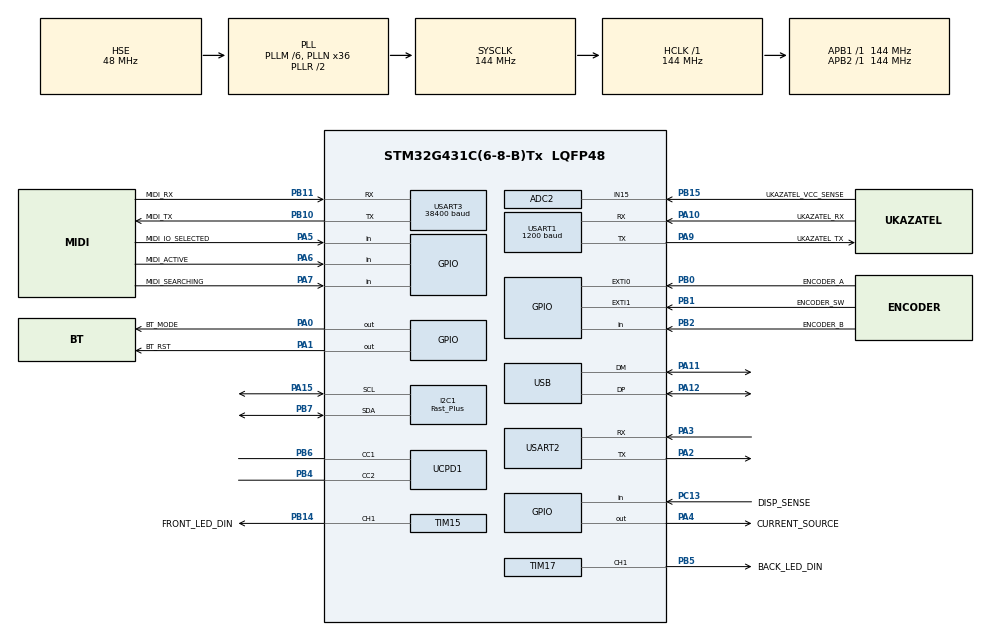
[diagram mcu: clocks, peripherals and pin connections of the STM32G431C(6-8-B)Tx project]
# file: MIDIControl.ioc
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ADC2.Channel-0\#ChannelRegularConversion=ADC_CHANNEL_15
ADC2.NbrOfConversionFlag=1
ADC2.OffsetNumber-0\#ChannelRegularConversion=ADC_OFFSET_NONE
ADC2.Rank-0\#ChannelRegularConversion=1
ADC2.SamplingTime-0\#ChannelRegularConversion=ADC_SAMPLETIME_2CYCLES_5
Dma.I2C1_TX.2.Direction=DMA_MEMORY_TO_PERIPH
Dma.I2C1_TX.2.EventEnable=DISABLE
Dma.I2C1_TX.2.Instance=DMA1_Channel1
Dma.I2C1_TX.2.MemDataAlignment=DMA_MDATAALIGN_BYTE
Dma.I2C1_TX.2.MemInc=DMA_MINC_ENABLE
Dma.I2C1_TX.2.Mode=DMA_NORMAL
Dma.I2C1_TX.2.PeriphDataAlignment=DMA_PDATAALIGN_BYTE
Dma.I2C1_TX.2.PeriphInc=DMA_PINC_DISABLE
Dma.I2C1_TX.2.Polarity=HAL_DMAMUX_REQ_GEN_RISING
Dma.I2C1_TX.2.Priority=DMA_PRIORITY_VERY_HIGH
Dma.I2C1_TX.2.RequestNumber=1
Dma.I2C1_TX.2.SignalID=NONE
Dma.I2C1_TX.2.SyncEnable=DISABLE
Dma.I2C1_TX.2.SyncPolarity=HAL_DMAMUX_SYNC_NO_EVENT
Dma.I2C1_TX.2.SyncRequestNumber=1
Dma.I2C1_TX.2.SyncSignalID=NONE
Dma.Request0=TIM17_CH1
Dma.Request1=TIM15_CH1
Dma.Request2=I2C1_TX
Dma.Request3=USART1_RX
Dma.TIM15_CH1.1.Direction=DMA_MEMORY_TO_PERIPH
Dma.TIM15_CH1.1.EventEnable=DISABLE
Dma.TIM15_CH1.1.Instance=DMA1_Channel2
Dma.TIM15_CH1.1.MemDataAlignment=DMA_MDATAALIGN_BYTE
Dma.TIM15_CH1.1.MemInc=DMA_MINC_ENABLE
Dma.TIM15_CH1.1.Mode=DMA_CIRCULAR
Dma.TIM15_CH1.1.PeriphDataAlignment=DMA_PDATAALIGN_WORD
Dma.TIM15_CH1.1.PeriphInc=DMA_PINC_DISABLE
Dma.TIM15_CH1.1.Polarity=HAL_DMAMUX_REQ_GEN_RISING
Dma.TIM15_CH1.1.Priority=DMA_PRIORITY_HIGH
Dma.TIM15_CH1.1.RequestNumber=1
Dma.TIM15_CH1.1.SignalID=NONE
Dma.TIM15_CH1.1.SyncEnable=DISABLE
Dma.TIM15_CH1.1.SyncPolarity=HAL_DMAMUX_SYNC_NO_EVENT
Dma.TIM15_CH1.1.SyncRequestNumber=1
Dma.TIM15_CH1.1.SyncSignalID=NONE
Dma.TIM17_CH1.0.Direction=DMA_MEMORY_TO_PERIPH
Dma.TIM17_CH1.0.EventEnable=DISABLE
Dma.TIM17_CH1.0.Instance=DMA1_Channel3
Dma.TIM17_CH1.0.MemDataAlignment=DMA_MDATAALIGN_BYTE
Dma.TIM17_CH1.0.MemInc=DMA_MINC_ENABLE
Dma.TIM17_CH1.0.Mode=DMA_CIRCULAR
Dma.TIM17_CH1.0.PeriphDataAlignment=DMA_PDATAALIGN_WORD
Dma.TIM17_CH1.0.PeriphInc=DMA_PINC_DISABLE
Dma.TIM17_CH1.0.Polarity=HAL_DMAMUX_REQ_GEN_RISING
Dma.TIM17_CH1.0.Priority=DMA_PRIORITY_HIGH
Dma.TIM17_CH1.0.RequestNumber=1
Dma.TIM17_CH1.0.SignalID=NONE
Dma.TIM17_CH1.0.SyncEnable=DISABLE
Dma.TIM17_CH1.0.SyncPolarity=HAL_DMAMUX_SYNC_NO_EVENT
Dma.TIM17_CH1.0.SyncRequestNumber=1
Dma.TIM17_CH1.0.SyncSignalID=NONE
Dma.USART1_RX.3.Direction=DMA_PERIPH_TO_MEMORY
Dma.USART1_RX.3.EventEnable=DISABLE
Dma.USART1_RX.3.Instance=DMA1_Channel4
Dma.USART1_RX.3.MemDataAlignment=DMA_MDATAALIGN_BYTE
Dma.USART1_RX.3.MemInc=DMA_MINC_ENABLE
Dma.USART1_RX.3.Mode=DMA_CIRCULAR
Dma.USART1_RX.3.PeriphDataAlignment=DMA_PDATAALIGN_BYTE
Dma.USART1_RX.3.PeriphInc=DMA_PINC_DISABLE
Dma.USART1_RX.3.Polarity=HAL_DMAMUX_REQ_GEN_RISING
Dma.USART1_RX.3.Priority=DMA_PRIORITY_LOW
Dma.USART1_RX.3.RequestNumber=1
Dma.USART1_RX.3.SignalID=NONE
Dma.USART1_RX.3.SyncEnable=DISABLE
Dma.USART1_RX.3.SyncPolarity=HAL_DMAMUX_SYNC_NO_EVENT
Dma.USART1_RX.3.SyncRequestNumber=1
Dma.USART1_RX.3.SyncSignalID=NONE
I2C1.Analog_Filter=I2C_ANALOGFILTER_ENABLE
I2C1.I2C_Coeff_DF=0
I2C1.I2C_Speed_Mode=I2C_Fast_Plus
I2C1.Timing=0x0070215B
Mcu.Family=STM32G4
Mcu.Name=STM32G431C(6-8-B)Tx
Mcu.Package=LQFP48
NVIC.DMA1_Channel1_IRQn=true\:0\:0\:false\:false\:true\:false\:true
NVIC.DMA1_Channel2_IRQn=true\:0\:0\:false\:false\:true\:false\:true
NVIC.DMA1_Channel3_IRQn=true\:0\:0\:false\:false\:true\:false\:true
NVIC.DMA1_Channel4_IRQn=true\:0\:0\:false\:false\:true\:false\:true
NVIC.EXTI0_IRQn=true\:0\:0\:false\:false\:true\:true\:true
NVIC.EXTI1_IRQn=true\:0\:0\:false\:false\:true\:true\:true
NVIC.I2C1_ER_IRQn=true\:0\:0\:false\:false\:true\:true\:true
NVIC.I2C1_EV_IRQn=true\:0\:0\:false\:false\:true\:true\:true
NVIC.PriorityGroup=NVIC_PRIORITYGROUP_4
NVIC.TIM1_CC_IRQn=true\:0\:0\:false\:false\:true\:true\:true
NVIC.TIM1_UP_TIM16_IRQn=true\:0\:0\:false\:false\:true\:true\:true
NVIC.TIM2_IRQn=true\:10\:0\:true\:false\:true\:true\:true
NVIC.TIM4_IRQn=true\:0\:0\:false\:false\:true\:true\:true
NVIC.TIM7_IRQn=true\:0\:0\:false\:false\:true\:true\:true
NVIC.USART1_IRQn=true\:0\:0\:false\:false\:true\:true\:true
NVIC.USART2_IRQn=true\:3\:0\:true\:false\:true\:true\:true
NVIC.USART3_IRQn=true\:15\:0\:true\:false\:true\:true\:true
NVIC.USB_HP_IRQn=true\:15\:0\:true\:false\:true\:true\:true
NVIC.USB_LP_IRQn=true\:14\:0\:true\:false\:true\:false\:true
PA0.GPIO_Label=BT_MODE
PA0.GPIO_ModeDefaultOutputPP=GPIO_MODE_OUTPUT_OD
PA0.Signal=GPIO_Output
PA1.GPIO_Label=BT_RST
PA1.GPIO_ModeDefaultOutputPP=GPIO_MODE_OUTPUT_OD
PA1.GPIO_PuPd=GPIO_NOPULL
PA1.GPIO_Speed=GPIO_SPEED_FREQ_VERY_HIGH
PA1.Signal=GPIO_Output
PA10.GPIO_Label=UKAZATEL_RX
PA10.Mode=Asynchronous
PA10.Signal=USART1_RX
PA11.Mode=Device
PA11.Signal=USB_DM
PA12.Mode=Device
PA12.Signal=USB_DP
PA13.Mode=Serial_Wire
PA13.Signal=SYS_JTMS-SWDIO
PA14.Mode=Serial_Wire
PA14.Signal=SYS_JTCK-SWCLK
PA15.GPIO_PuPdOD=GPIO_PULLUP
PA15.GPIO_Speed=GPIO_SPEED_FREQ_VERY_HIGH
PA15.Mode=I2C
PA15.Signal=I2C1_SCL
PA2.GPIO_ModeDefaultPP=GPIO_MODE_AF_PP
PA2.GPIO_Speed=GPIO_SPEED_FREQ_VERY_HIGH
PA2.Mode=Asynchronous
PA2.Signal=USART2_TX
PA3.GPIO_Speed=GPIO_SPEED_FREQ_VERY_HIGH
PA3.Mode=Asynchronous
PA3.Signal=USART2_RX
PA4.GPIO_Label=CURRENT_SOURCE
PA4.GPIO_ModeDefaultOutputPP=GPIO_MODE_OUTPUT_PP
PA4.GPIO_Speed=GPIO_SPEED_FREQ_LOW
PA4.Signal=GPIO_Output
PA5.GPIO_Label=MIDI_IO_SELECTED
PA5.Signal=GPIO_Input
PA6.GPIO_Label=MIDI_ACTIVE
PA6.Signal=GPIO_Input
PA7.GPIO_Label=MIDI_SEARCHING
PA7.Signal=GPIO_Input
PA9.GPIO_Label=UKAZATEL_TX
PA9.Mode=Asynchronous
PA9.Signal=USART1_TX
PB0.GPIO_Label=ENCODER_A
PB0.Signal=GPXTI0
PB1.GPIO_Label=ENCODER_SW
PB1.GPIO_ModeDefaultEXTI=GPIO_MODE_IT_FALLING
PB1.Signal=GPXTI1
PB10.GPIO_Label=MIDI_TX
PB10.GPIO_Speed=GPIO_SPEED_FREQ_VERY_HIGH
PB10.Mode=Asynchronous
PB10.Signal=USART3_TX
PB11.GPIO_Label=MIDI_RX
PB11.GPIO_Speed=GPIO_SPEED_FREQ_VERY_HIGH
PB11.Mode=Asynchronous
PB11.Signal=USART3_RX
PB14.GPIO_Label=FRONT_LED_DIN
PB14.Signal=S_TIM15_CH1
PB15.GPIO_Label=UKAZATEL_VCC_SENSE
PB15.Mode=IN15-Single-Ended
PB15.Signal=ADC2_IN15
PB2.GPIO_Label=ENCODER_B
PB2.Signal=GPIO_Input
PB4.Mode=Source_AllSignals
PB4.Signal=UCPD1_CC2
PB5.GPIO_Label=BACK_LED_DIN
PB5.Signal=S_TIM17_CH1
PB6.Mode=Source_AllSignals
PB6.Signal=UCPD1_CC1
PB7.GPIO_FM7=SYSCFG_FASTMODEPLUS_PB7
PB7.GPIO_PuPdOD=GPIO_PULLUP
PB7.Mode=I2C
PB7.Signal=I2C1_SDA
PC13.GPIO_Label=DISP_SENSE
PC13.Signal=GPIO_Input
PC14-OSC32_IN.Mode=LSE-External-Oscillator
PC14-OSC32_IN.Signal=RCC_OSC32_IN
PC15-OSC32_OUT.Mode=LSE-External-Oscillator
PC15-OSC32_OUT.Signal=RCC_OSC32_OUT
PF0-OSC_IN.Mode=HSE-External-Oscillator
PF0-OSC_IN.Signal=RCC_OSC_IN
PF1-OSC_OUT.Mode=HSE-External-Oscillator
PF1-OSC_OUT.Signal=RCC_OSC_OUT
ProjectManager.HeapSize=0x200
ProjectManager.StackSize=0x400
ProjectManager.TargetToolchain=SW4STM32
RCC.ADC12Freq_Value=144000000
RCC.AHBFreq_Value=144000000
RCC.APB1Freq_Value=144000000
RCC.APB1TimFreq_Value=144000000
RCC.APB2Freq_Value=144000000
RCC.APB2TimFreq_Value=144000000
RCC.CortexFreq_Value=144000000
RCC.EXTERNAL_CLOCK_VALUE=12288000
RCC.HCLKFreq_Value=144000000
RCC.HSE_VALUE=48000000
RCC.HSI48_VALUE=48000000
RCC.HSI_VALUE=16000000
RCC.PLLM=RCC_PLLM_DIV6
RCC.PLLN=36
RCC.PLLQ=RCC_PLLQ_DIV6
RCC.PLLSourceVirtual=RCC_PLLSOURCE_HSE
RCC.SYSCLKFreq_VALUE=144000000
RCC.SYSCLKSource=RCC_SYSCLKSOURCE_PLLCLK
RCC.USART1CLockSelection=RCC_USART1CLKSOURCE_HSI
RCC.USART2CLockSelection=RCC_USART2CLKSOURCE_SYSCLK
RCC.USART3CLockSelection=RCC_USART3CLKSOURCE_SYSCLK
RCC.USBFreq_Value=48000000
RCC.VCOOutputFreq_Value=288000000
SH.S_TIM15_CH1.0=TIM15_CH1,PWM Generation1 CH1
SH.S_TIM17_CH1.0=TIM17_CH1,PWM Generation1 CH1
TIM1.PeriodNoDither=400
TIM1.Prescaler=719
TIM15.Channel-PWM\ Generation1\ CH1=TIM_CHANNEL_1
TIM15.PeriodNoDither=179
TIM15.Prescaler=1
TIM17.AutoReloadPreload=TIM_AUTORELOAD_PRELOAD_DISABLE
TIM17.BreakPolarity=TIM_BREAKPOLARITY_LOW
TIM17.Channel=TIM_CHANNEL_1
TIM17.OC1Preload_PWM=ENABLE
TIM17.PeriodNoDither=179
TIM17.Prescaler=1
TIM2.PeriodNoDither=13200
TIM2.Prescaler=719
TIM4.PeriodNoDither=5000
TIM4.Prescaler=14399
TIM7.PeriodNoDither=625
TIM7.Prescaler=14400
USART1.BaudRate=1200
USART1.VirtualMode-Asynchronous=VM_ASYNC
USART2.FIFOMode=FIFOMODE_DISABLE
USART2.VirtualMode-Asynchronous=VM_ASYNC
USART3.BaudRate=38400
USART3.FIFOMode=FIFOMODE_ENABLE
USART3.RXFIFOThreshold=RXFIFO_THRESHOLD_FULL
USART3.VirtualMode-Asynchronous=VM_ASYNC
USB.lpm_enable=DISABLE
USB_DEVICE.CLASS_NAME_FS=CDC
USB_DEVICE.MANUFACTURER_STRING=Vojt\u011Bch Vos\u00E1hlo
USB_DEVICE.PRODUCT_STRING_CDC_FS=MIDIControl
USB_DEVICE.VirtualMode=Cdc
USB_DEVICE.VirtualModeFS=Cdc_FS
VP_CRC_VS_CRC.Mode=CRC_Activate
VP_RTC_VS_RTC_Activate.Mode=RTC_Enabled
VP_SYS_VS_DBSignals.Mode=DisableDeadBatterySignals
VP_TIM17_VS_ClockSourceINT.Mode=Enable_Timer
VP_TIM1_VS_ClockSourceINT.Mode=Internal
VP_TIM2_VS_ClockSourceINT.Mode=Internal
VP_TIM4_VS_ClockSourceINT.Mode=Internal
VP_TIM7_VS_ClockSourceINT.Mode=Enable_Timer
VP_USB_DEVICE_VS_USB_DEVICE_CDC_FS.Mode=CDC_FS
board=custom

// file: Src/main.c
/* USER CODE BEGIN Header */
/**
  ******************************************************************************
  * @file           : main.c
  * @brief          : Main program body
  ******************************************************************************
  * @attention
  *
  * <h2><center>&copy; Copyright (c) 2020 STMicroelectronics.
  * All rights reserved.</center></h2>
  *
  * This software component is licensed by ST under Ultimate Liberty license
  * SLA0044, the "License"; You may not use this file except in compliance with
  * the License. You may obtain a copy of the License at:
  *                             www.st.com/SLA0044
  *
  ******************************************************************************
  */
/* USER CODE END Header */

#include "main.h"
#include "adc.h"
#include "crc.h"
#include "dma.h"
#include "i2c.h"
#include "rtc.h"
#include "tim.h"
#include "ucpd.h"
#include "usart.h"
#include "usb_device.h"
#include "gpio.h"

/* USER CODE BEGIN Includes */
#include "ssd1306.h"
#include "ws2812.h"
#include "devStatus.h"
#include "oled.h"
#include "bluetooth.h"
#include "midiControl.h"
#include "msgDecoder.h"

uint16_t GPIO_Pin_Flag;
extern uint8_t CDC_Transmit_FS(uint8_t* Buf, uint16_t Len);
extern uint8_t MIDI_Transmit_FS(uint8_t* Buf, uint16_t Len);
uint8_t b;

int readBytes = 0;
/* USER CODE END Includes */

/* USER CODE BEGIN PV */
extern struct menuitem mainmenu[5];
/* USER CODE END PV */

void SystemClock_Config(void);

int main(void)
{

  /* MCU Configuration--------------------------------------------------------*/

  /* Reset of all peripherals, Initializes the Flash interface and the Systick. */

  BootloaderCheck();

  HAL_Init();

  /* Configure the system clock */
  SystemClock_Config();

  /* Initialize all configured peripherals */

  /*Configure GPIO pin : PtPin */

  MX_GPIO_Init();
  MX_DMA_Init();
  MX_USB_Device_Init();
  MX_UCPD1_Init();
  MX_I2C1_Init();
  MX_USART1_UART_Init();
  MX_USART2_UART_Init();
  MX_USART3_UART_Init();
  MX_CRC_Init();
  MX_ADC2_Init();
  MX_TIM15_Init();
  MX_TIM17_Init();
  MX_TIM1_Init();
  MX_TIM2_Init();
  MX_RTC_Init();
  MX_TIM4_Init();
  MX_TIM7_Init();
  /* USER CODE BEGIN 2 */

  //Inicializuje se system MIDIControl
  midiControl_init();

  //Restartuje attiny na desce
  midiControl_midiIO_init();

  HAL_RTC_Init(&hrtc);

  ws2812_init();

  oled_begin();

  setStatusAll(0, DEV_LOAD);

  if(bluetoothInit()){
	  setStatus(DEV_BLUETOOTH, DEV_OK);
	  bluetoothStatus = BT_STATUS_OK;
  }else{
	  setStatus(DEV_BLUETOOTH, DEV_ERR);
	  bluetoothStatus = BT_STATUS_ERR;
  }

  //Prohleda zarizeni v okoli a pripoji se ke znamemu ovladaci
  if(bluetoothConnectKnown()){
	  btStreamOpen = 1;
	  btCmdMode = 0;
  }

  midiControl_midiIO_getState();

 /*if(!alivePC){
	  oled_setDisplayedSplash(oled_UsbWaitingSplash, "");
	  oledType = OLED_SPLASH;
	  while(!alivePC){
		  if(oledType != OLED_SPLASH) oledType = OLED_SPLASH;
		  if(btMsgReceivedFlag){
			  decodeMessage(uartMsgDecodeBuff, ((uartMsgDecodeBuff[6] & 0x04) >> 2));
			  btMsgReceivedFlag = 0;
		  }
	  }
  }*/

  //Ziska se aktualni cas
  midiControl_get_time();

  //Skoci do menu
  oledType = OLED_MENU;

  HAL_UART_Receive_IT(&huart3, &midiFifo[midiFifoIndex++], 1);
  HAL_UART_Receive_DMA(&huart1, dispData, 9);
  HAL_TIM_Base_Start_IT(&htim7);

  /* USER CODE END 2 */

  /* Infinite loop */
  /* USER CODE BEGIN WHILE */
  while (1)
  {

	  //Pokud byl request na skenovani
	  if(workerBtScanDev.assert){
		 if(bluetoothGetScannedDevices()){
			 oled_setDisplayedMenu("btScanedDevices", &btScanedDevices, sizeof(btScanedDevices)-(20-btScannedCount-1)*sizeof(btScanedDevices[19]), 0);
		 }else oled_setDisplayedSplash(oled_NothingFound, NULL);
		 workerBtScanDev.assert = 0;
	  }

	  if(workerBtBondDev.assert){
		 if(bluetoothGetBondedDevices()){
			 oled_setDisplayedMenu("btBondedDevicesMenu", &btBondedDevicesMenu, sizeof(btBondedDevicesMenu)-(10-btBondedCount-1)*sizeof(btBondedDevicesMenu[9]), 0);
		 }else oled_setDisplayedSplash(oled_NothingFound, NULL);
		 workerBtBondDev.assert = 0;
	  }

	  if(btMsgReceivedFlag){
		  uint8_t dest = uartMsgDecodeBuff[6] & 0x03;
		  uint8_t broadcast = (uartMsgDecodeBuff[6] & 0x04) >> 2;
		  uint16_t msgLen = ((uartMsgDecodeBuff[4]&0xff)<<8 | (uartMsgDecodeBuff[5]&0xff));

		  if(dest == ADDRESS_MAIN || broadcast){
			  decodeMessage(uartMsgDecodeBuff, ((uartMsgDecodeBuff[6] & 0x04) >> 2));
		  }else{
			 // sprintf(oledHeader, "D:%d B:%d", dest, broadcast);
			  CDC_Transmit_FS(uartMsgDecodeBuff, msgLen+6);
		  }

		  btMsgReceivedFlag = 0;
	  }

	  if(workerBtRemoveController.assert){
	  		if(!btCmdMode) bluetoothEnterCMD();
	  		char cmd[10];
	  		sprintf(cmd,"U,%d\r", (btSelectedController+1));
	  		bluetoothCMD_ACK(cmd, BT_AOK);
	  		if(btCmdMode) bluetoothLeaveCMD();
	  		oled_setDisplayedMenu("mainmenu",&mainmenu, sizeof(mainmenu), 0);
	  		workerBtRemoveController.assert = 0;
	  }

	  if(workerBtConnect.assert){
		  bluetoothConnect(workerBtConnectMAC);
		  //workerAssert(&workerBtBond);
		  workerBtConnect.assert = 0;
	  }

	  if(workerBtBond.assert){
	  		  bluetoothBond();
	  		  workerBtBond.assert = 0;
	  }

	  if(workerBtScanBondable.assert){
		  if(bluetoothGetBondableDevices()){
			  oled_setDisplayedMenu("btBondableDevices", &btBondableDevices, sizeof(btBondableDevices)-(20-btBondableCount-1)*sizeof(btBondableDevices[19]), 0);
		  }else oled_setDisplayedSplash(oled_NothingFound, NULL);
		  workerBtScanBondable.assert = 0;
	  }

	  if(workerGetSongs.assert){
		  if(workerGetSongs.status == WORKER_OK){
		      oled_setDisplayedMenu("songmenu",&songMenu, (songMenuSize+1)*sizeof(struct menuitem), 1);
			  workerGetSongs.assert = 0;
		  }else if(workerGetSongs.status == WORKER_ERR){
			  oled_setDisplayedSplash(oled_ErrorSplash, "pri nacitani pisni");
			  workerGetSongs.assert = 0;
		  }
	  }

	  if(workerMiscellaneous.assert){
		   //Kontroluje statusy periferii
		   midiControl_display_getState();

		   midiControl_midiIO_getState();

		  //Odesle informaci o svoji pritonosti
		  char msg[] = {INTERNAL_COM, INTERNAL_COM_KEEPALIVE};
		  sendMsg(ADDRESS_MAIN, ADDRESS_OTHER, 1, INTERNAL, msg, 2);

		  workerDesert(&workerMiscellaneous);
	  }

	  if(workerDispRefresh.assert){
		  char buff[20];
		  uint8_t changed = 0;

		  //Pokud se lisi nastavene a existujici cislo pisne
		  sprintf(buff, "%c%c%c%c", dispSong[3], dispSong[2], dispSong[1], dispSong[0]);
		  if(strcmp(numDispSong.enteredValue,buff)){
			  dispSong[3] = numDispSong.enteredValue[0];
			  dispSong[2] = numDispSong.enteredValue[1];
			  dispSong[1] = numDispSong.enteredValue[2];
			  dispSong[0] = numDispSong.enteredValue[3];
			  changed = 1;
		  }

		  //Pokud se lisi nastavene a existujici cislo sloky
		  sprintf(buff, "%c%c", dispVerse[1], dispVerse[0]);
		  if(strcmp(numDispSong.enteredValue,buff)){
			  dispVerse[1] = numDispVerse.enteredValue[0];
			  dispVerse[0] = numDispVerse.enteredValue[1];
		  	  changed = 1;
		  }

		  //Pokud se lisi nastavene a existujici pismeno
		  if(numDispLetter.enteredValue[0] != dispLetter){
			  dispLetter = numDispLetter.enteredValue[0];
			  changed = 1;
		  }

		  if(dispLED != dispLEDOld){
			  changed = 1;
		  }

		  if(changed){
			  uint8_t data[9];
			  data[0] = 0xB0;
			  data[1] =  (dispVerse[0] <= '9' && dispVerse[0] >= '0') ? dispVerse[0]-48 : 0xE0;
			  data[2] =  (dispVerse[1] <= '9' && dispVerse[1] >= '0') ? dispVerse[1]-48 : 0xE0;
			  data[3] =  (dispSong[0] <= '9' && dispSong[0] >= '0') ? dispSong[0]-48 : 0xE0;
			  data[4] =  (dispSong[1] <= '9' && dispSong[1] >= '0') ? dispSong[1]-48 : 0xE0;
			  data[5] =  (dispSong[2] <= '9' && dispSong[2] >= '0') ? dispSong[2]-48 : 0xE0;
			  data[6] =  (dispSong[3] <= '9' && dispSong[3] >= '0') ? dispSong[3]-48 : 0xE0;
			  data[7] =  (dispLetter <= 'D' && dispLetter >= 'A') ? dispLetter-55 : 0xE0;
			  data[8] =	 (dispLED <= 3 && dispLetter >= 0) ? 0x20 | dispLED : 0xE0;
			  midiControl_setDisplayRaw(data, 9);
			  changed = 0;
		  }

		  workerDesert(&workerDispRefresh);
	  }

	  if(workerRecord.assert){
		  if(workerRecord.status == WORKER_REQUEST){
			  char msg[50];
			  msg[0] = INTERNAL_COM;
			  msg[1] = INTERNAL_COM_CHECK_NAME;
			  sprintf(&msg[2], "%s", numRecordSong.enteredValue);
			  sendMsg(ADDRESS_MAIN, ADDRESS_PC, 0, INTERNAL, msg, strlen(numRecordSong.enteredValue)+2);
			  workerRecord.status = WORKER_WAITING;
		  }else if(workerRecord.status == WORKER_OK){
			  midiControl_record(ADDRESS_MAIN, numRecordSong.enteredValue);
			  workerDesert(&workerRecord);
		  }else if(workerRecord.status == WORKER_ERR){
			  oled_setDisplayedSplash(oled_NameExistsSplash, "");
			  workerDesert(&workerRecord);
		  }

	  }

	 /* if(!alivePC){
		  setStatusAll(1, DEV_CLR);
	  	  oled_setDisplayedSplash(oled_UsbWaitingSplash, "");
	  	  oledType = OLED_SPLASH;
	  	  oled_refresh();
	  	  while(!alivePC){
	  		if(oledType != OLED_SPLASH) oledType = OLED_SPLASH;
	  		if(btMsgReceivedFlag){
				decodeMessage(uartMsgDecodeBuff, ((uartMsgDecodeBuff[6] & 0x04) >> 2));
				btMsgReceivedFlag = 0;
	  		}
	  	  }
	  	  oledType = OLED_MENU;
	  }*/

    /* USER CODE END WHILE */

  }
}

void SystemClock_Config(void)
{
  RCC_OscInitTypeDef RCC_OscInitStruct = {0};
  RCC_ClkInitTypeDef RCC_ClkInitStruct = {0};
  RCC_PeriphCLKInitTypeDef PeriphClkInit = {0};

  /** Configure the main internal regulator output voltage
  */
  HAL_PWREx_ControlVoltageScaling(PWR_REGULATOR_VOLTAGE_SCALE1);
  /** Initializes the CPU, AHB and APB busses clocks
  */
  RCC_OscInitStruct.OscillatorType = RCC_OSCILLATORTYPE_HSI|RCC_OSCILLATORTYPE_LSI
                              |RCC_OSCILLATORTYPE_HSE;
  RCC_OscInitStruct.HSEState = RCC_HSE_ON;
  RCC_OscInitStruct.HSIState = RCC_HSI_ON;
  RCC_OscInitStruct.HSICalibrationValue = RCC_HSICALIBRATION_DEFAULT;
  RCC_OscInitStruct.LSIState = RCC_LSI_ON;
  RCC_OscInitStruct.PLL.PLLState = RCC_PLL_ON;
  RCC_OscInitStruct.PLL.PLLSource = RCC_PLLSOURCE_HSE;
  RCC_OscInitStruct.PLL.PLLM = RCC_PLLM_DIV6;
  RCC_OscInitStruct.PLL.PLLN = 36;
  RCC_OscInitStruct.PLL.PLLP = RCC_PLLP_DIV2;
  RCC_OscInitStruct.PLL.PLLQ = RCC_PLLQ_DIV6;
  RCC_OscInitStruct.PLL.PLLR = RCC_PLLR_DIV2;
  if (HAL_RCC_OscConfig(&RCC_OscInitStruct) != HAL_OK)
  {
    Error_Handler();
  }
  /** Initializes the CPU, AHB and APB busses clocks
  */
  RCC_ClkInitStruct.ClockType = RCC_CLOCKTYPE_HCLK|RCC_CLOCKTYPE_SYSCLK
                              |RCC_CLOCKTYPE_PCLK1|RCC_CLOCKTYPE_PCLK2;
  RCC_ClkInitStruct.SYSCLKSource = RCC_SYSCLKSOURCE_PLLCLK;
  RCC_ClkInitStruct.AHBCLKDivider = RCC_SYSCLK_DIV1;
  RCC_ClkInitStruct.APB1CLKDivider = RCC_HCLK_DIV1;
  RCC_ClkInitStruct.APB2CLKDivider = RCC_HCLK_DIV1;

  if (HAL_RCC_ClockConfig(&RCC_ClkInitStruct, FLASH_LATENCY_7) != HAL_OK)
  {
    Error_Handler();
  }
  /** Initializes the peripherals clocks
  */
  PeriphClkInit.PeriphClockSelection = RCC_PERIPHCLK_RTC|RCC_PERIPHCLK_USART1
                              |RCC_PERIPHCLK_USART2|RCC_PERIPHCLK_USART3
                              |RCC_PERIPHCLK_I2C1|RCC_PERIPHCLK_USB
                              |RCC_PERIPHCLK_ADC12;
  PeriphClkInit.Usart1ClockSelection = RCC_USART1CLKSOURCE_HSI;
  PeriphClkInit.Usart2ClockSelection = RCC_USART2CLKSOURCE_SYSCLK;
  PeriphClkInit.Usart3ClockSelection = RCC_USART3CLKSOURCE_SYSCLK;
  PeriphClkInit.I2c1ClockSelection = RCC_I2C1CLKSOURCE_PCLK1;
  PeriphClkInit.UsbClockSelection = RCC_USBCLKSOURCE_PLL;
  PeriphClkInit.Adc12ClockSelection = RCC_ADC12CLKSOURCE_SYSCLK;
  PeriphClkInit.RTCClockSelection = RCC_RTCCLKSOURCE_LSI;

  if (HAL_RCCEx_PeriphCLKConfig(&PeriphClkInit) != HAL_OK)
  {
    Error_Handler();
  }
}

/* USER CODE BEGIN 4 */

void HAL_GPIO_EXTI_Callback(uint16_t GPIO_Pin)
{

	if(GPIO_Pin == GPIO_PIN_0 || GPIO_Pin == GPIO_PIN_1){
			GPIO_Pin_Flag = GPIO_Pin;
			if(HAL_TIM_Base_GetState(&htim1) != HAL_TIM_STATE_BUSY){
					HAL_TIM_Base_Start_IT(&htim1);
					HAL_NVIC_EnableIRQ(TIM1_CC_IRQn);
					HAL_NVIC_EnableIRQ(TIM1_UP_TIM16_IRQn);
					HAL_NVIC_EnableIRQ(TIM1_TRG_COM_TIM17_IRQn);
					HAL_NVIC_EnableIRQ(TIM1_BRK_TIM15_IRQn);

					HAL_NVIC_EnableIRQ(EXTI0_IRQn);
					HAL_NVIC_EnableIRQ(EXTI1_IRQn);
			}

	}

	if(GPIO_Pin == GPIO_PIN_5 || GPIO_Pin == GPIO_PIN_6 || GPIO_Pin == GPIO_PIN_7){

	}

}

void HAL_TIM_PeriodElapsedCallback(TIM_HandleTypeDef *htim){

	if(htim->Instance == TIM1){

		HAL_NVIC_DisableIRQ(TIM1_CC_IRQn);
		HAL_NVIC_DisableIRQ(TIM1_UP_TIM16_IRQn);
		HAL_NVIC_DisableIRQ(TIM1_TRG_COM_TIM17_IRQn);
		HAL_NVIC_DisableIRQ(TIM1_BRK_TIM15_IRQn);
		HAL_TIM_Base_Stop_IT(&htim1);

		if(!encoderDirSwap){
			if(HAL_GPIO_ReadPin(GPIOB, GPIO_PIN_0) != HAL_GPIO_ReadPin(GPIOB, GPIO_PIN_2) && GPIO_Pin_Flag == GPIO_PIN_0){
				encoderpos++;
			}else if(HAL_GPIO_ReadPin(GPIOB, GPIO_PIN_0) == HAL_GPIO_ReadPin(GPIOB, GPIO_PIN_2) && GPIO_Pin_Flag == GPIO_PIN_0){
				encoderpos--;
			}
		}else{
			if(HAL_GPIO_ReadPin(GPIOB, GPIO_PIN_0) != HAL_GPIO_ReadPin(GPIOB, GPIO_PIN_2) && GPIO_Pin_Flag == GPIO_PIN_0){
				encoderpos--;
			}else if(HAL_GPIO_ReadPin(GPIOB, GPIO_PIN_0) == HAL_GPIO_ReadPin(GPIOB, GPIO_PIN_2) && GPIO_Pin_Flag == GPIO_PIN_0){
				encoderpos++;
			}
		}

		//Dopocita se pozice v dispmenu
		if(encoderpos >= (signed int)(dispmenusize)-1){
			encoderpos = (signed int)(dispmenusize)-1;
		}else if(encoderpos < (signed int)0){
			encoderpos = 0;
		}

		if(HAL_GPIO_ReadPin(GPIOB, GPIO_PIN_1) == GPIO_PIN_RESET/* && GPIO_Pin_Flag == GPIO_PIN_1*/){
			encoderclick = 1;
			if(refreshHalt) oled_refresh();
		}

		HAL_NVIC_EnableIRQ(EXTI0_IRQn);
		HAL_NVIC_ClearPendingIRQ(EXTI0_IRQn);
		HAL_NVIC_EnableIRQ(EXTI1_IRQn);
		HAL_NVIC_ClearPendingIRQ(EXTI1_IRQn);

	}

	if(htim->Instance == TIM4){

		midiControl_keepalive_process();

		if(loadingStat == 2){
			workerAssert(&workerMiscellaneous);
		}

		//Tady se dela scrollovani
		if(scrollPauseDone){
			if(scrollIndex <= scrollMax){
				scrollIndex++;
			}else{
				scrollPauseDone = 0;
			}
		}else scrollPause++;

		if(scrollPause == OLED_MENU_SCROLL_PAUSE){
			if(scrollIndex > 0){
				scrollPauseDone = 0;
			}else scrollPauseDone = 1;

			scrollPause = 0;
			scrollIndex = 0;
		}

		if(loadingStat < 4){
			loadingStat <<= 1;
		}else loadingStat = 1;

		loadingToggle = ~loadingToggle;

		/*if(loadingToggle){
			uint8_t note[] = {0x08, 0x90, 0x47, 0x47};
			MIDI_Transmit_FS(note, 4);
		}else{
			uint8_t note[] = {0x08, 0x80, 0x47, 0x47};
			MIDI_Transmit_FS(note, 4);
		}*/

		if(btStatusMsg){
			btStatusMsgWD++;

			if(btStatusMsgWD >= 2){
				bluetoothMsgFifoFlush();
				btStatusMsg = 0;
				btStatusMsgWD = 0;
			}
		}else btStatusMsgWD = 0;

		if(refreshHalt) oled_refresh();
	}

	if(htim->Instance == TIM2){
		//Obnovi se oled displej
		if(!refreshHalt) oled_refresh();
		proccessPendingStatus();
	}

	if(htim->Instance == TIM7){
		if(btData && btDataIcon == -1){
			btDataIcon = 0;
		}

		if(btDataIcon != -1 && btDataIcon < 3){
			btDataIcon++;
		}else if(btDataIcon != -1){
			btDataIcon = -1;
			btData = 0;
		}
	}

}

void USB_CDC_received_handle(char * buff, uint32_t len){

	setStatus(DEV_USB, DEV_DATA);

	uint16_t msgLen = ((buff[4]&0xff)<<8 | (buff[5]&0xff));

	memcpy(&decoderBuffer, buff, msgLen+6);

	//Pokud je pro toto zarizeni
	if((buff[6] & 0x03) == ADDRESS_MAIN && ((buff[6] & 0x04) >> 2) == 0){
		decodeMessage(decoderBuffer, (buff[6] & 0x04) >> 3);
	}else if((buff[6] & 0x04) >> 2){
		//Pokud je broadcast
		//Dekoduje a preposle na BT
		if(!btCmdMode && btStreamOpen){
			HAL_UART_Transmit_IT(&huart2, decoderBuffer, msgLen+6);
		}

		decodeMessage(decoderBuffer, (buff[6] & 0x04) >> 3);

	}else{
		//Jen preposle na BT
		if(!btCmdMode && btStreamOpen){
			HAL_UART_Transmit_IT(&huart2, decoderBuffer, msgLen+6);
		}
	}

}

void USB_CDC_transmit_handle(char * buff, uint32_t len){
	setStatus(DEV_USB, DEV_DATA);
}

void USB_MIDI_received_handle(char * buff, uint32_t len){
	setStatus(FRONT3, DEV_DATA);
	HAL_UART_Transmit_IT(&huart3, (uint8_t*)buff+1, len-1);
}

void USB_MIDI_transmit_handle(char * buff, uint32_t len){
	setStatus(FRONT3, DEV_DATA);
}

void HAL_UART_RxCpltCallback(UART_HandleTypeDef *huart){

	if(huart->Instance == USART3){
		if(midiStatus == MIDI_A){
			setStatus(DEV_MIDIA, DEV_DATA);
		}else if(midiStatus == MIDI_B){
			setStatus(DEV_MIDIB, DEV_DATA);
		}

		//Precte se typ zpravy
		uint8_t msgType = midiFifo[0];

		//Pokud prijde byte validni MIDI zpravy
		if((msgType & 0xF0) >= 0x80 && !midiGotMessage){
			midiGotMessage = 1;

			//Zpravy co maji 2 byty
			if((msgType >= 0x80 && msgType <= 0xBF) || (msgType & 0xF0) == 0xE0 || msgType == 0xF2 || msgType == 0xF0){
				HAL_UART_Receive_IT(&huart3, &midiFifo[midiFifoIndex], 2);
				midiFifoIndex += 2;
			}else if((msgType & 0xF0) == 0xC0 ||  (msgType & 0xF0) == 0xD0 || msgType == 0xF3){
				HAL_UART_Receive_IT(&huart3, &midiFifo[midiFifoIndex++], 1);
			}else{
				midiFifoIndex = 0;
				HAL_UART_Receive_IT(&huart3, &midiFifo[midiFifoIndex++], 1);
			}

		}else if(midiGotMessage){
			sprintf(oledHeader, "%x %x %x %x",msgType,midiFifo[midiFifoIndex-1], midiFifo[midiFifoIndex], midiFifo[midiFifoIndex+1]);
			//Pokud byla zprava sysex a prisel sysex end
			if(msgType == 0xF0 && midiFifo[midiFifoIndex-1] == 0xF7){
				midiFifoIndex = 0;
				midiFifo[midiFifoIndex] = 0;
				midiGotMessage = 0;
				HAL_UART_Receive_IT(&huart3, &midiFifo[midiFifoIndex++], 1);
			}else if(msgType == 0xF0 && midiFifo[midiFifoIndex-1] != 0xF7){
				//Pokud byla zprava sysex a prisly data
				HAL_UART_Receive_IT(&huart3, &midiFifo[midiFifoIndex++], 1);
			}else{
				//Ostatni zpravy
				uint8_t buffer[4];
				//Vynuluje se buffer
				memset(buffer,0,4);
				//Vytvori se CN a CIN
				buffer[0] = ((midiFifo[0] >> 4) & 0x0F);
				//Data se presunou do bufferu
				memcpy(&buffer[1], &midiFifo[0], midiFifoIndex);

				MIDI_Transmit_FS(buffer, 4);
				//Zacne se novy prijem
				midiFifoIndex = 0;
				midiGotMessage = 0;
				midiFifo[midiFifoIndex] = 0;
				HAL_UART_Receive_IT(&huart3, &midiFifo[midiFifoIndex++], 1);
			}
		}else{
			//Pokud nema validni MIDI zpravu, prijima dal
			midiGotMessage = 0;
			midiFifoIndex = 0;
			midiFifo[midiFifoIndex] = 0;
			HAL_UART_Receive_IT(&huart3, &midiFifo[midiFifoIndex++], 1);
		}

	}else if(huart->Instance == USART1){
		setStatus(DEV_DISP, DEV_DATA);
		//Ukazatel

		midiControl_refreshDisplayData();

		HAL_UART_Receive_DMA(&huart1, dispData, 9);

	}else if(huart->Instance == USART2){
		setStatus(DEV_BLUETOOTH, DEV_DATA);

		//Pokud dostal status message od modulu
		if((btFifoByte == '%' || btStatusMsg) && !btCmdMode){
			if(btFifoByte == '%') btStatusMsg = ~btStatusMsg;
			if(btFifoByte == '%' && !btStatusMsg) bluetoothDecodeMsg();
			btMsgFifo[btMsgFifoIndex++] = btFifoByte;
		}else if(!btStatusMsg){

			if(!btCmdMode && btFifoByte == 0 && btNullCounter < 4 && btComMessageSizeFlag < 2){
				//Odpocitaji se 4 nully
				btNullCounter++;
			}else if(btNullCounter == 4 && btComMessageSizeFlag < 2){
				btMsgReceivedFlag = 0;
				//Odpocita se velikost
				btComMessageSizeFlag++;
				btMessageLen = 0;
			}else if(btNullCounter == 4 && btComMessageSizeFlag == 2 && btMessageLen == 0){
				//Zapise se index zacatku zpravy
				btComMessageStartIndex = btFifoIndex-6;

				btMessageLen = ((btFifo[btComMessageStartIndex+4] << 8) & 0xff00) | (btFifo[btComMessageStartIndex+5] & 0xff);

			}

			btFifo[btFifoIndex++] = btFifoByte;

			if(btMessageLen > 0 && (btFifoIndex) >= btMessageLen+btComMessageStartIndex+6 && btNullCounter == 4 && btComMessageSizeFlag == 2){

				memcpy(uartMsgDecodeBuff, btFifo+btComMessageStartIndex, btMessageLen+6);
				btMsgReceivedFlag = 1;
				bluetoothFifoFlush();
				btNullCounter = 0;
				btComMessageSizeFlag = 0;
			}

		}

		HAL_UART_Receive_IT(&huart2, &btFifoByte, 1);

	}
}

void HAL_UART_TxCpltCallback(UART_HandleTypeDef *huart){
	if(huart->Instance == USART1){
		setStatus(DEV_DISP, DEV_DATA);
		HAL_UART_Receive_DMA(&huart1, dispData, 9);
		//Ukazatel
	}else if(huart->Instance == USART2){
		setStatus(DEV_BLUETOOTH, DEV_DATA);
		//Spusti se prijem
		//btRxComplete = 0;
		//btRxBuffIndex = 0;
		//HAL_UART_Receive_IT(&huart2, &btRxByte, 1);

	}else if(huart->Instance == USART3){
		if(midiStatus == MIDI_A){
			setStatus(DEV_MIDIB, DEV_DATA);
		}else if(midiStatus == MIDI_B){
			setStatus(DEV_MIDIA, DEV_DATA);
		}
	}
}

void BootloaderCheck(){
	GPIO_InitTypeDef GPIO_InitStruct;

	__HAL_RCC_GPIOB_CLK_ENABLE();

	GPIO_InitStruct.Pin = ENCODER_SW_Pin;
	GPIO_InitStruct.Mode = GPIO_MODE_INPUT;
	GPIO_InitStruct.Pull = GPIO_NOPULL;
	HAL_GPIO_Init(ENCODER_SW_GPIO_Port, &GPIO_InitStruct);

	if(HAL_GPIO_ReadPin(ENCODER_SW_GPIO_Port, ENCODER_SW_Pin) == GPIO_PIN_RESET){
		__HAL_RCC_GPIOB_CLK_DISABLE();
		HAL_GPIO_DeInit(ENCODER_SW_GPIO_Port, ENCODER_SW_Pin);
		BootloaderInit(1);
	}

	__HAL_RCC_GPIOB_CLK_DISABLE();
	HAL_GPIO_DeInit(ENCODER_SW_GPIO_Port, ENCODER_SW_Pin);
}

void BootloaderInit(uint8_t status){

	volatile uint32_t addr = 0x1FFF0000;

	if(status == 1){

		HAL_RCC_DeInit();
		HAL_DeInit();

		SysTick->CTRL = 0;
		SysTick->LOAD = 0;
		SysTick->VAL  = 0;

		__HAL_RCC_SYSCFG_CLK_ENABLE();
		__HAL_SYSCFG_REMAPMEMORY_SYSTEMFLASH();

		SCB->VTOR = *(__IO uint32_t*) addr;
		SysMemBootJump = (void (*)(void)) (*((uint32_t *)(addr + 4)));
		__set_MSP(*(__IO uint32_t*) addr);

		SysMemBootJump();

	}
}

/* USER CODE END 4 */

void Error_Handler(void)
{
}

/************************ (C) COPYRIGHT STMicroelectronics *****END OF FILE****/
